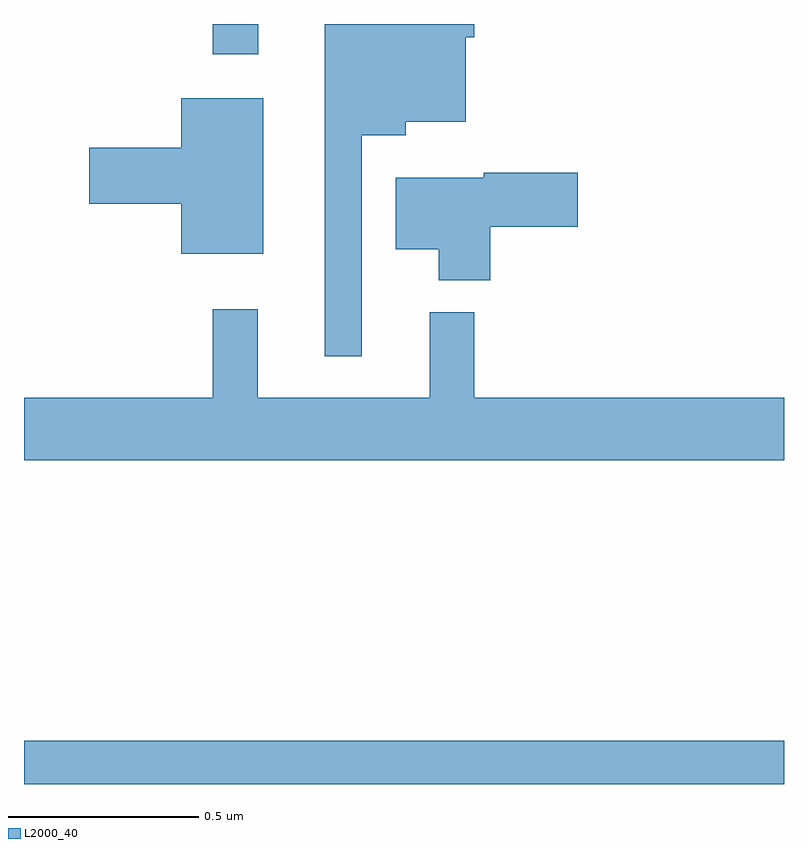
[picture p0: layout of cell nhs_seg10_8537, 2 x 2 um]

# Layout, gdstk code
import gdstk
lib = gdstk.Library(unit=1e-6, precision=1e-09)
def R(c, l, rs):  # rectangles x0, y0, x1, y1
    for r in rs: c.add(gdstk.rectangle(r[:2], r[2:], *l))
def P(c, l, *ps):  # polygons
    for p in ps: c.add(gdstk.Polygon(p, *l))
L2000_40 = (2000, 40)

nhs_seg10_8537 = lib.new_cell('nhs_seg10_8537')
R(nhs_seg10_8537, L2000_40, [(218,1263.5,220,1263.614), (218.497,1265.421,218.616,1265.5)])
P(nhs_seg10_8537, L2000_40, [(218.889,1265.207),(219.004,1265.207),(219.004,1265.243),(219.163,1265.243),(219.163,1265.465),(219.185,1265.465),(219.185,1265.5),(218.792,1265.5),(218.792,1264.626),(218.889,1264.626)],
  [(218.629,1265.305),(218.414,1265.305),(218.414,1265.174),(218.172,1265.174),(218.172,1265.027),(218.414,1265.027),(218.414,1264.895),(218.629,1264.895)],
  [(219.227,1264.966),(219.457,1264.966),(219.457,1265.108),(219.21,1265.108),(219.21,1265.095),(218.978,1265.095),(218.978,1264.907),(219.092,1264.907),(219.092,1264.826),(219.227,1264.826)],
  [(220,1264.516),(219.185,1264.516),(219.185,1264.741),(219.068,1264.741),(219.068,1264.516),(218.615,1264.516),(218.615,1264.75),(218.497,1264.75),(218.497,1264.516),(218,1264.516),(218,1264.352),(220,1264.352)])

lib.write_gds('nhs_seg10_8537.gds')
